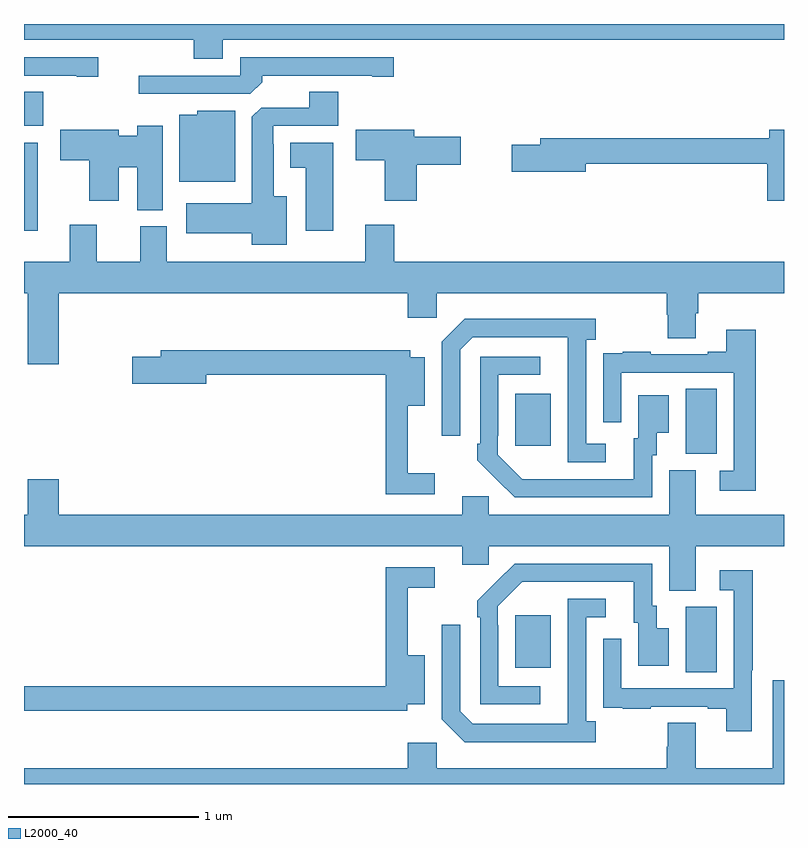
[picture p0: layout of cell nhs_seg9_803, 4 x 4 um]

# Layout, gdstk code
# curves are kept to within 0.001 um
import gdstk
lib = gdstk.Library(unit=1e-6, precision=1e-09)
def R(c, l, rs):  # rectangles x0, y0, x1, y1
    for r in rs: c.add(gdstk.rectangle(r[:2], r[2:], *l))
def P(c, l, *ps):  # polygons
    for p in ps: c.add(gdstk.Polygon(p, *l))
L2000_40 = (2000, 40)

nhs_seg9_803 = lib.new_cell('nhs_seg9_803')
R(nhs_seg9_803, L2000_40, [(156.482,1197.088,156.646,1197.432), (155.585,1197.113,155.773,1197.388), (156.482,1198.237,156.646,1198.58), (155.585,1198.281,155.773,1198.555), (153,1199.412,153.073,1199.875), (153,1199.964,153.101,1200.143)])
P(nhs_seg9_803, L2000_40, [(154.045,1200.416),(157,1200.416),(157,1200.5),(153,1200.5),(153,1200.416),(153.893,1200.416),(153.893,1200.317),(154.045,1200.317)],
  [(154.253,1200.194),(154.253,1200.228),(154.832,1200.228),(154.832,1200.223),(154.945,1200.223),(154.945,1200.324),(154.137,1200.324),(154.137,1200.228),(153.603,1200.228),(153.603,1200.132),(154.191,1200.132)],
  [(153.391,1200.324),(153,1200.324),(153,1200.228),(153.278,1200.228),(153.278,1200.223),(153.391,1200.223)],
  [(154.384,1199.593),(154.315,1199.593),(154.315,1199.867),(154.311,1199.867),(154.311,1199.964),(154.655,1199.964),(154.655,1200.143),(154.502,1200.143),(154.502,1200.06),(154.248,1200.06),(154.199,1200.011),(154.199,1199.557),(153.855,1199.557),(153.855,1199.399),(154.199,1199.399),(154.199,1199.339),(154.384,1199.339)],
  [(154.111,1200.043),(153.912,1200.043),(153.912,1200.022),(153.818,1200.022),(153.818,1199.669),(154.111,1199.669)],
  [(153.73,1199.965),(153.596,1199.965),(153.596,1199.911),(153.499,1199.911),(153.499,1199.944),(153.192,1199.944),(153.192,1199.782),(153.344,1199.782),(153.344,1199.571),(153.499,1199.571),(153.499,1199.746),(153.596,1199.746),(153.596,1199.521),(153.73,1199.521)],
  [(157,1199.944),(156.923,1199.944),(156.923,1199.9),(155.717,1199.9),(155.717,1199.864),(155.568,1199.864),(155.568,1199.722),(155.956,1199.722),(155.956,1199.764),(156.911,1199.764),(156.911,1199.571),(157,1199.571)],
  [(155.066,1199.759),(155.299,1199.759),(155.299,1199.906),(155.053,1199.906),(155.053,1199.944),(154.746,1199.944),(154.746,1199.782),(154.898,1199.782),(154.898,1199.571),(155.066,1199.571)],
  [(154.627,1199.875),(154.4,1199.875),(154.4,1199.744),(154.484,1199.744),(154.484,1199.412),(154.627,1199.412)],
  [(153.184,1199.084),(155.021,1199.084),(155.021,1198.953),(155.172,1198.953),(155.172,1199.084),(156.383,1199.084),(156.383,1198.971),(156.388,1198.971),(156.388,1198.846),(156.535,1198.846),(156.535,1198.978),(156.548,1198.978),(156.548,1199.084),(157,1199.084),(157,1199.248),(154.949,1199.248),(154.949,1199.443),(154.796,1199.443),(154.796,1199.248),(153.751,1199.248),(153.751,1199.436),(153.611,1199.436),(153.611,1199.248),(153.382,1199.248),(153.382,1199.443),(153.242,1199.443),(153.242,1199.248),(153,1199.248),(153,1199.084),(153.02,1199.084),(153.02,1198.71),(153.184,1198.71)],
  [(156.061,1198.29),(155.958,1198.29),(155.958,1198.838),(156.01,1198.838),(156.01,1198.948),(155.32,1198.948),(155.199,1198.827),(155.199,1198.332),(155.295,1198.332),(155.295,1198.785),(155.361,1198.851),(155.861,1198.851),(155.862,1198.194),(156.061,1198.194)],
  [(156.851,1198.891),(156.695,1198.891),(156.695,1198.774),(156.599,1198.774),(156.599,1198.761),(156.299,1198.761),(156.299,1198.774),(156.151,1198.774),(156.151,1198.767),(156.049,1198.767),(156.049,1198.658),(156.048,1198.658),(156.048,1198.404),(156.144,1198.404),(156.144,1198.665),(156.735,1198.665),(156.735,1198.149),(156.663,1198.149),(156.663,1198.044),(156.851,1198.044)],
  [(155.161,1198.135),(155.021,1198.135),(155.021,1198.49),(155.11,1198.49),(155.11,1198.747),(155.034,1198.747),(155.034,1198.783),(153.719,1198.783),(153.719,1198.749),(153.57,1198.749),(153.57,1198.607),(153.958,1198.607),(153.958,1198.654),(154.903,1198.654),(154.903,1198.026),(155.161,1198.026)],
  [(156.306,1198.23),(156.331,1198.23),(156.331,1198.349),(156.394,1198.349),(156.394,1198.546),(156.233,1198.546),(156.233,1198.32),(156.209,1198.32),(156.209,1198.104),(155.622,1198.105),(155.493,1198.233),(155.493,1198.333),(155.496,1198.333),(155.496,1198.653),(155.716,1198.653),(155.716,1198.749),(155.4,1198.749),(155.4,1198.291),(155.385,1198.291),(155.385,1198.203),(155.582,1198.008),(156.306,1198.008)],
  [(156.535,1197.752),(157,1197.752),(157,1197.916),(156.535,1197.916),(156.535,1198.152),(156.395,1198.152),(156.395,1197.916),(155.445,1197.916),(155.445,1198.014),(155.306,1198.014),(155.306,1197.916),(153.184,1197.916),(153.184,1198.105),(153.02,1198.105),(153.02,1197.916),(153,1197.916),(153,1197.752),(155.306,1197.752),(155.306,1197.654),(155.445,1197.654),(155.445,1197.752),(156.395,1197.752),(156.395,1197.517),(156.535,1197.517)],
  [(155.716,1197.015),(155.496,1197.015),(155.496,1197.335),(155.493,1197.335),(155.493,1197.435),(155.622,1197.564),(156.209,1197.564),(156.209,1197.348),(156.233,1197.348),(156.233,1197.123),(156.394,1197.123),(156.394,1197.319),(156.331,1197.319),(156.331,1197.438),(156.306,1197.438),(156.306,1197.66),(155.582,1197.66),(155.385,1197.465),(155.385,1197.377),(155.4,1197.377),(155.4,1196.919),(155.716,1196.919)],
  [(155.016,1196.921),(155.11,1196.921),(155.11,1197.178),(155.021,1197.178),(155.021,1197.534),(155.161,1197.534),(155.161,1197.642),(154.903,1197.642),(154.903,1197.014),(153,1197.014),(153,1196.886),(155.016,1196.886)],
  [(156.831,1197.1),(156.836,1197.1),(156.836,1197.625),(156.663,1197.625),(156.663,1197.519),(156.735,1197.519),(156.735,1197.003),(156.144,1197.003),(156.144,1197.265),(156.048,1197.265),(156.048,1197.01),(156.049,1197.01),(156.049,1196.901),(156.151,1196.901),(156.151,1196.895),(156.299,1196.895),(156.299,1196.907),(156.599,1196.907),(156.599,1196.895),(156.695,1196.895),(156.695,1196.778),(156.831,1196.778)],
  [(156.01,1196.83),(155.958,1196.83),(155.958,1197.378),(156.061,1197.378),(156.061,1197.474),(155.862,1197.474),(155.861,1196.817),(155.361,1196.817),(155.295,1196.883),(155.295,1197.337),(155.199,1197.337),(155.199,1196.841),(155.32,1196.72),(156.01,1196.72)],
  [(153,1196.5),(157,1196.5),(157,1197.046),(156.941,1197.046),(156.941,1196.584),(156.535,1196.584),(156.535,1196.822),(156.388,1196.822),(156.388,1196.697),(156.383,1196.697),(156.383,1196.584),(155.172,1196.584),(155.172,1196.716),(155.021,1196.716),(155.021,1196.584),(153,1196.584)])

lib.write_gds('nhs_seg9_803.gds')
